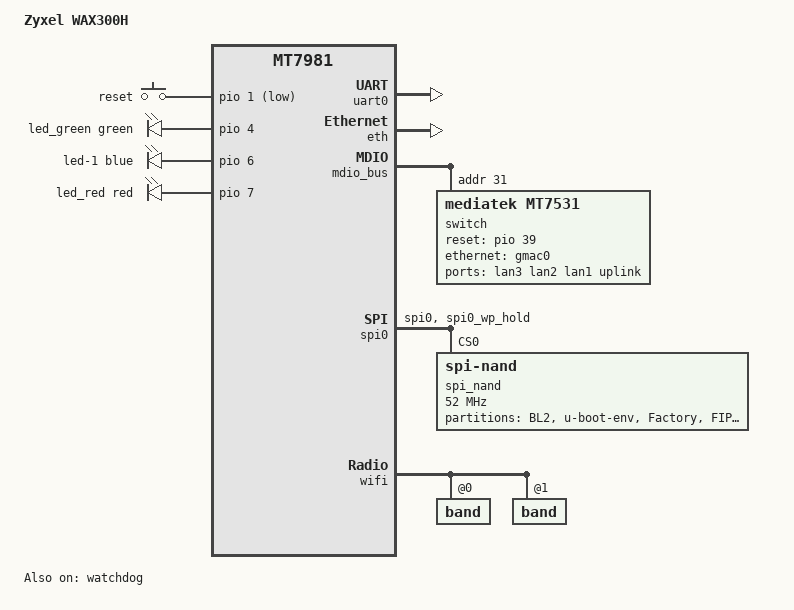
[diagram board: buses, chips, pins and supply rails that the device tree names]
// SPDX-License-Identifier: (GPL-2.0-or-later OR MIT)
/dts-v1/;

#include "mt7981b.dtsi"

/ {
	model = "Zyxel WAX300H";
	compatible = "zyxel,wax300h", "mediatek,mt7981";

	aliases {
		led-boot = &led_green;
		led-failsafe = &led_red;
		led-running = &led_green;
		led-upgrade = &led_red;
		serial0 = &uart0;
		label-mac-device = &uplink;
	};

	chosen {
		stdout-path = "serial0:115200n8";
	};

	gpio-keys {
		compatible = "gpio-keys";

		reset {
			label = "reset";
			linux,code = <KEY_RESTART>;
			gpios = <&pio 1 GPIO_ACTIVE_LOW>;
		};
	};

	leds {
		compatible = "gpio-leds";

		led_green: led-0 {
			color = <LED_COLOR_ID_GREEN>;
			function = LED_FUNCTION_STATUS;
			gpios = <&pio 4 GPIO_ACTIVE_HIGH>;
		};

		led-1 {
			color = <LED_COLOR_ID_BLUE>;
			function = LED_FUNCTION_STATUS;
			gpios = <&pio 6 GPIO_ACTIVE_HIGH>;
		};

		led_red: led-2 {
			color = <LED_COLOR_ID_RED>;
			function = LED_FUNCTION_STATUS;
			gpios = <&pio 7 GPIO_ACTIVE_HIGH>;
		};
	};
};

&uart0 {
	status = "okay";
};

&watchdog {
	status = "okay";
};

&eth {
	pinctrl-names = "default";
	pinctrl-0 = <&mdio_pins>;

	status = "okay";

	gmac0: mac@0 {
		compatible = "mediatek,eth-mac";
		reg = <0>;
		phy-mode = "2500base-x";

		nvmem-cells = <&macaddr_mrd_1fff8 0>;
		nvmem-cell-names = "mac-address";

		fixed-link {
			speed = <2500>;
			full-duplex;
			pause;
		};
	};
};

&mdio_bus {
	switch@1f {
		compatible = "mediatek,mt7531";
		reg = <31>;
		reset-gpios = <&pio 39 GPIO_ACTIVE_HIGH>;

		ports {
			#address-cells = <1>;
			#size-cells = <0>;

			port@0 {
				reg = <0>;
				label = "lan3";

				nvmem-cells = <&macaddr_mrd_1fff8 3>;
				nvmem-cell-names = "mac-address";
			};

			port@1 {
				reg = <1>;
				label = "lan2";

				nvmem-cells = <&macaddr_mrd_1fff8 2>;
				nvmem-cell-names = "mac-address";
			};

			/* PoE PSE */
			port@2 {
				reg = <2>;
				label = "lan1";

				nvmem-cells = <&macaddr_mrd_1fff8 1>;
				nvmem-cell-names = "mac-address";
			};

			/* PoE PD */
			uplink: port@3 {
				reg = <3>;
				label = "uplink";

				nvmem-cells = <&macaddr_mrd_1fff8 0>;
				nvmem-cell-names = "mac-address";
			};

			port@6 {
				reg = <6>;
				ethernet = <&gmac0>;
				phy-mode = "2500base-x";

				fixed-link {
					speed = <2500>;
					full-duplex;
					pause;
				};
			};
		};
	};
};

&spi0 {
	pinctrl-names = "default";
	pinctrl-0 = <&spi0_flash_pins>;
	status = "okay";

	spi_nand: flash@0 {
		compatible = "spi-nand";
		reg = <0>;
		spi-max-frequency = <52000000>;

		spi-cal-enable;
		spi-cal-mode = "read-data";
		spi-cal-datalen = <7>;
		spi-cal-data = /bits/ 8 <0x53 0x50 0x49 0x4E 0x41 0x4E 0x44>;
		spi-cal-addrlen = <5>;
		spi-cal-addr = /bits/ 32 <0x0 0x0 0x0 0x0 0x0>;

		spi-tx-bus-width = <4>;
		spi-rx-bus-width = <4>;
		mediatek,nmbm;
		mediatek,bmt-max-ratio = <1>;
		mediatek,bmt-max-reserved-blocks = <64>;

		partitions {
			compatible = "fixed-partitions";
			#address-cells = <1>;
			#size-cells = <1>;

			partition@0 {
				label = "BL2";
				reg = <0x00000 0x0100000>;
				read-only;
			};

			partition@100000 {
				label = "u-boot-env";
				reg = <0x0100000 0x0080000>;
			};

			partition@180000 {
				label = "Factory";
				reg = <0x180000 0x0200000>;
				read-only;

				nvmem-layout {
					compatible = "fixed-layout";
					#address-cells = <1>;
					#size-cells = <1>;

					eeprom_factory_0: eeprom@0 {
						reg = <0x0 0x1000>;
					};

					precal_factory_1010: precal@1010 {
						reg = <0x1010 0x6f010>;
					};
				};
			};

			partition@380000 {
				label = "FIP";
				reg = <0x380000 0x0200000>;
				read-only;
			};

			partition@580000 {
				label = "ubi";
				reg = <0x580000 0x3200000>;
			};

			partition@3780000 {
				label = "ubi_1";
				reg = <0x3780000 0x3200000>;
				read-only;
			};

			partition@6980000 {
				label = "rootfs-data";
				reg = <0x6980000 0x3c00000>;
				read-only;
			};

			partition@a580000 {
				label = "logs";
				reg = <0xa580000 0x3a80000>;
				read-only;
			};

			partition@e000000 {
				label = "myzyxel";
				reg = <0xe000000 0xf00000>;
				read-only;
			};

			partition@ef00000 {
				label = "bootconfig";
				reg = <0xef00000 0x80000>;
			};

			partition@ef80000 {
				label = "mrd";
				reg = <0xef80000 0x80000>;
				read-only;

				nvmem-layout {
					compatible = "fixed-layout";
					#address-cells = <1>;
					#size-cells = <1>;

					macaddr_mrd_1fff8: macaddr@1fff8 {
						compatible = "mac-base";
						reg = <0x1fff8 0x6>;
						#nvmem-cell-cells = <1>;
					};
				};
			};
		};
	};
};

&pio {
	spi0_flash_pins: spi0-pins {
		mux {
			function = "spi";
			groups = "spi0", "spi0_wp_hold";
		};
	};
};

&wifi {
	nvmem-cells = <&eeprom_factory_0>, <&precal_factory_1010>;
	nvmem-cell-names = "eeprom", "precal";
	#address-cells = <1>;
	#size-cells = <0>;
	status = "okay";

	band@0 {
		reg = <0>;
		nvmem-cells = <&macaddr_mrd_1fff8 4>;
		nvmem-cell-names = "mac-address";
	};

	band@1 {
		reg = <1>;
		nvmem-cells = <&macaddr_mrd_1fff8 5>;
		nvmem-cell-names = "mac-address";
	};
};
